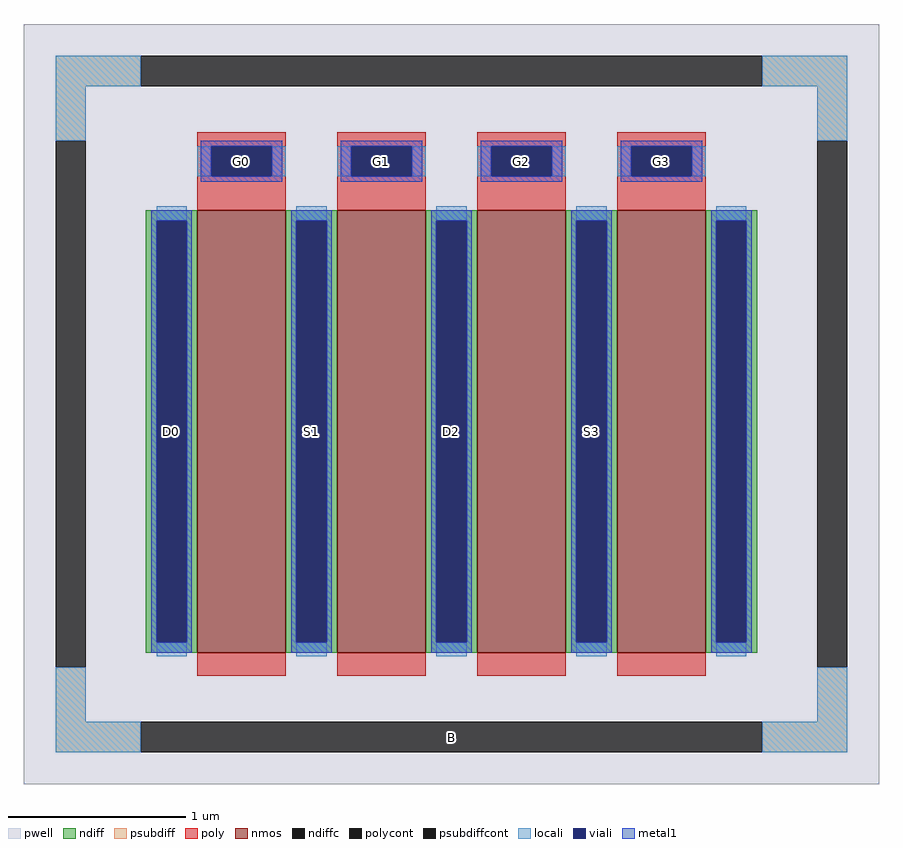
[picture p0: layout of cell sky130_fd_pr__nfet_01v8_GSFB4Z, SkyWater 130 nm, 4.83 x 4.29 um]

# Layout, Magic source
magic
tech sky130A
magscale 1 2
<< pwell >>
rect -483 -429 483 429
<< nmos >>
rect -287 -281 -187 219
rect -129 -281 -29 219
rect 29 -281 129 219
rect 187 -281 287 219
<< ndiff >>
rect -345 207 -287 219
rect -345 -269 -333 207
rect -299 -269 -287 207
rect -345 -281 -287 -269
rect -187 207 -129 219
rect -187 -269 -175 207
rect -141 -269 -129 207
rect -187 -281 -129 -269
rect -29 207 29 219
rect -29 -269 -17 207
rect 17 -269 29 207
rect -29 -281 29 -269
rect 129 207 187 219
rect 129 -269 141 207
rect 175 -269 187 207
rect 129 -281 187 -269
rect 287 207 345 219
rect 287 -269 299 207
rect 333 -269 345 207
rect 287 -281 345 -269
<< ndiffc >>
rect -333 -269 -299 207
rect -175 -269 -141 207
rect -17 -269 17 207
rect 141 -269 175 207
rect 299 -269 333 207
<< psubdiff >>
rect -447 359 -351 393
rect 351 359 447 393
rect -447 297 -413 359
rect 413 297 447 359
rect -447 -359 -413 -297
rect 413 -359 447 -297
rect -447 -393 -351 -359
rect 351 -393 447 -359
<< psubdiffcont >>
rect -351 359 351 393
rect -447 -297 -413 297
rect 413 -297 447 297
rect -351 -393 351 -359
<< poly >>
rect -287 291 -187 307
rect -287 257 -271 291
rect -203 257 -187 291
rect -287 219 -187 257
rect -129 291 -29 307
rect -129 257 -113 291
rect -45 257 -29 291
rect -129 219 -29 257
rect 29 291 129 307
rect 29 257 45 291
rect 113 257 129 291
rect 29 219 129 257
rect 187 291 287 307
rect 187 257 203 291
rect 271 257 287 291
rect 187 219 287 257
rect -287 -307 -187 -281
rect -129 -307 -29 -281
rect 29 -307 129 -281
rect 187 -307 287 -281
<< polycont >>
rect -271 257 -203 291
rect -113 257 -45 291
rect 45 257 113 291
rect 203 257 271 291
<< locali >>
rect -447 359 -351 393
rect 351 359 447 393
rect -447 297 -413 359
rect 413 297 447 359
rect -287 257 -271 291
rect -203 257 -187 291
rect -129 257 -113 291
rect -45 257 -29 291
rect 29 257 45 291
rect 113 257 129 291
rect 187 257 203 291
rect 271 257 287 291
rect -333 207 -299 223
rect -333 -285 -299 -269
rect -175 207 -141 223
rect -175 -285 -141 -269
rect -17 207 17 223
rect -17 -285 17 -269
rect 141 207 175 223
rect 141 -285 175 -269
rect 299 207 333 223
rect 299 -285 333 -269
rect -447 -359 -413 -297
rect 413 -359 447 -297
rect -447 -393 -351 -359
rect 351 -393 447 -359
<< viali >>
rect -271 257 -203 291
rect -113 257 -45 291
rect 45 257 113 291
rect 203 257 271 291
rect -333 -269 -299 207
rect -175 -269 -141 207
rect -17 -269 17 207
rect 141 -269 175 207
rect 299 -269 333 207
<< metal1 >>
rect -283 291 -191 297
rect -283 257 -271 291
rect -203 257 -191 291
rect -283 251 -191 257
rect -125 291 -33 297
rect -125 257 -113 291
rect -45 257 -33 291
rect -125 251 -33 257
rect 33 291 125 297
rect 33 257 45 291
rect 113 257 125 291
rect 33 251 125 257
rect 191 291 283 297
rect 191 257 203 291
rect 271 257 283 291
rect 191 251 283 257
rect -339 207 -293 219
rect -339 -269 -333 207
rect -299 -269 -293 207
rect -339 -281 -293 -269
rect -181 207 -135 219
rect -181 -269 -175 207
rect -141 -269 -135 207
rect -181 -281 -135 -269
rect -23 207 23 219
rect -23 -269 -17 207
rect 17 -269 23 207
rect -23 -281 23 -269
rect 135 207 181 219
rect 135 -269 141 207
rect 175 -269 181 207
rect 135 -281 181 -269
rect 293 207 339 219
rect 293 -269 299 207
rect 333 -269 339 207
rect 293 -281 339 -269
<< labels >>
rlabel psubdiffcont 0 -376 0 -376 0 B
port 1 nsew
rlabel ndiffc -316 -31 -316 -31 0 D0
port 2 nsew
rlabel polycont -237 274 -237 274 0 G0
port 3 nsew
rlabel ndiffc -158 -31 -158 -31 0 S1
port 4 nsew
rlabel polycont -79 274 -79 274 0 G1
port 5 nsew
rlabel ndiffc 0 -31 0 -31 0 D2
port 6 nsew
rlabel polycont 79 274 79 274 0 G2
port 7 nsew
rlabel ndiffc 158 -31 158 -31 0 S3
port 8 nsew
rlabel polycont 237 274 237 274 0 G3
port 9 nsew
<< properties >>
string FIXED_BBOX -430 -376 430 376
string gencell sky130_fd_pr__nfet_01v8
string library sky130
string parameters w 2.5 l 0.5 m 1 nf 4 diffcov 100 polycov 100 guard 1 glc 1 grc 1 gtc 1 gbc 1 tbcov 100 rlcov 100 topc 1 botc 0 poverlap 0 doverlap 1 lmin 0.15 wmin 0.42 class mosfet compatible {sky130_fd_pr__nfet_01v8 sky130_fd_pr__nfet_01v8_lvt  sky130_fd_bs_flash__special_sonosfet_star  sky130_fd_pr__nfet_g5v0d10v5 sky130_fd_pr__nfet_05v0_nvt  sky130_fd_pr__nfet_03v3_nvt} full_metal 1 conn_gates 0 viasrc 100 viadrn 100 viagate 100 viagb 0 viagr 0 viagl 0 viagt 0 doports 1
<< end >>
